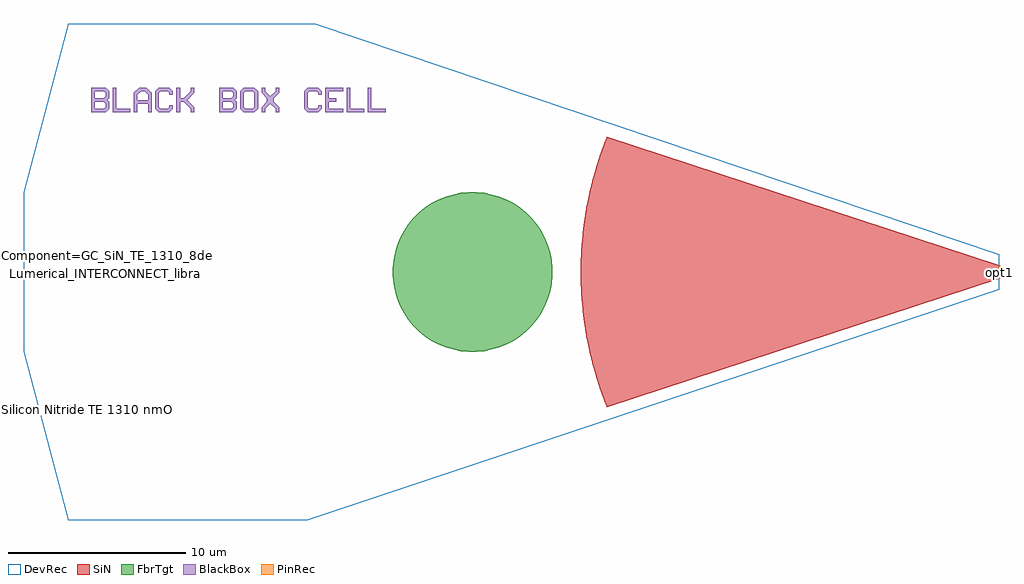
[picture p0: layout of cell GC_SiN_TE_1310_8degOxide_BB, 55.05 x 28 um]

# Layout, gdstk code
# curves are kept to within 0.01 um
import gdstk
lib = gdstk.Library(unit=1e-6, precision=1e-09)
def P(c, l, *ps):  # polygons
    for p in ps: c.add(gdstk.Polygon(p, *l))
PinRec = (1, 10)
SiN = (4, 0)
DevRec = (68, 0)
FbrTgt = (81, 0)
BlackBox = (998, 0)

gc_sin_te_1310_8degoxide = lib.new_cell('GC_SiN_TE_1310_8degOxide_BB')
P(gc_sin_te_1310_8degoxide, SiN, [(-22.124,-7.618),(-22.514,-6.567),(-22.793,-5.681),(-23.008,-4.879),(-23.21,-3.971),(-23.37,-3.054),(-23.513,-1.886),(-23.578,-0.956),(-23.6,-0.123),(-23.578,0.956),(-23.513,1.886),(-23.412,2.763),(-23.238,3.827),(-23.031,4.784),(-22.793,5.681),(-22.514,6.567),(-22.124,7.618),(0,0.375),(0,-0.375)])
P(gc_sin_te_1310_8degoxide, DevRec, [(-52.5,-14),(-55,-4.5),(-55,4.5),(-52.5,14),(-38.552,14),(0,1),(0,-1),(-39,-14)])
P(gc_sin_te_1310_8degoxide, FbrTgt, [(-29.921,-4.5),(-30.361,-4.457),(-30.795,-4.37),(-31.218,-4.242),(-31.626,-4.073),(-32.016,-3.864),(-32.384,-3.619),(-32.726,-3.338),(-33.038,-3.026),(-33.319,-2.684),(-33.564,-2.316),(-33.773,-1.926),(-33.942,-1.518),(-34.07,-1.095),(-34.157,-0.661),(-34.2,-0.221),(-34.2,0.221),(-34.157,0.661),(-34.07,1.095),(-33.942,1.518),(-33.773,1.926),(-33.564,2.316),(-33.319,2.684),(-33.038,3.026),(-32.726,3.338),(-32.384,3.619),(-32.016,3.864),(-31.626,4.073),(-31.218,4.242),(-30.795,4.37),(-30.361,4.457),(-29.921,4.5),(-29.479,4.5),(-29.039,4.457),(-28.605,4.37),(-28.182,4.242),(-27.774,4.073),(-27.384,3.864),(-27.016,3.619),(-26.674,3.338),(-26.362,3.026),(-26.081,2.684),(-25.836,2.316),(-25.627,1.926),(-25.458,1.518),(-25.33,1.095),(-25.243,0.661),(-25.2,0.221),(-25.2,-0.221),(-25.243,-0.661),(-25.33,-1.095),(-25.458,-1.518),(-25.627,-1.926),(-25.836,-2.316),(-26.081,-2.684),(-26.362,-3.026),(-26.674,-3.338),(-27.016,-3.619),(-27.384,-3.864),(-27.774,-4.073),(-28.182,-4.242),(-28.605,-4.37),(-29.039,-4.457),(-29.479,-4.5)])
P(gc_sin_te_1310_8degoxide, BlackBox, [(-51.2,9),(-51.2,10.4),(-50.4,10.4),(-50.2,10.2),(-51,10.2),(-51,9.8),(-50.5,9.8),(-50.4,9.9),(-50.4,10.1),(-50.5,10.2),(-50.2,10.2),(-50.2,9.8),(-50.3,9.7),(-50.2,9.6),(-51,9.6),(-51,9.2),(-50.5,9.2),(-50.4,9.3),(-50.4,9.5),(-50.5,9.6),(-50.2,9.6),(-50.2,9.2),(-50.4,9)],
  [(-50,9),(-50,10.4),(-49.8,10.4),(-49.8,9.2),(-49,9.2),(-49,9)],
  [(-48.8,9),(-48.8,10.1),(-48.5,10.4),(-48.1,10.4),(-47.9,10.2),(-48.4,10.2),(-48.6,10),(-48.6,9.7),(-48,9.7),(-48,10),(-48.2,10.2),(-47.9,10.2),(-47.8,10.1),(-47.8,9),(-48,9),(-48,9.5),(-48.6,9.5),(-48.6,9)],
  [(-47.4,9),(-47.6,9.2),(-47.6,10.2),(-47.4,10.4),(-46.8,10.4),(-46.6,10.2),(-46.6,10),(-46.8,10),(-46.8,10.1),(-46.9,10.2),(-47.3,10.2),(-47.4,10.1),(-47.4,9.3),(-47.3,9.2),(-46.9,9.2),(-46.8,9.3),(-46.8,9.4),(-46.6,9.4),(-46.6,9.2),(-46.8,9)],
  [(-46.4,9),(-46.4,10.4),(-46.2,10.4),(-46.2,9.8),(-46,9.8),(-45.6,10.2),(-45.6,10.4),(-45.4,10.4),(-45.4,10.1),(-45.8,9.7),(-45.4,9.3),(-45.4,9),(-45.6,9),(-45.6,9.2),(-46,9.6),(-46.2,9.6),(-46.2,9)],
  [(-44,9),(-44,10.4),(-43.2,10.4),(-43,10.2),(-43.8,10.2),(-43.8,9.8),(-43.3,9.8),(-43.2,9.9),(-43.2,10.1),(-43.3,10.2),(-43,10.2),(-43,9.8),(-43.1,9.7),(-43,9.6),(-43.8,9.6),(-43.8,9.2),(-43.3,9.2),(-43.2,9.3),(-43.2,9.5),(-43.3,9.6),(-43,9.6),(-43,9.2),(-43.2,9)],
  [(-42.6,9),(-42.8,9.2),(-42.8,10.2),(-42.6,10.4),(-42,10.4),(-41.8,10.2),(-41.8,9.7),(-42,9.7),(-42,10.1),(-42.1,10.2),(-42.5,10.2),(-42.6,10.1),(-42.6,9.3),(-42.5,9.2),(-42.1,9.2),(-42,9.3),(-42,9.7),(-41.8,9.7),(-41.8,9.2),(-42,9)],
  [(-41.6,9),(-41.6,9.3),(-41.3,9.6),(-41.3,9.8),(-41.6,10.1),(-41.6,10.4),(-41.4,10.4),(-41.4,10.2),(-41.1,9.9),(-40.8,10.2),(-40.8,10.4),(-40.6,10.4),(-40.6,10.1),(-40.9,9.8),(-40.9,9.6),(-40.6,9.3),(-40.6,9),(-40.8,9),(-40.8,9.2),(-41.1,9.5),(-41.4,9.2),(-41.4,9)],
  [(-39,9),(-39.2,9.2),(-39.2,10.2),(-39,10.4),(-38.4,10.4),(-38.2,10.2),(-38.2,10),(-38.4,10),(-38.4,10.1),(-38.5,10.2),(-38.9,10.2),(-39,10.1),(-39,9.3),(-38.9,9.2),(-38.5,9.2),(-38.4,9.3),(-38.4,9.4),(-38.2,9.4),(-38.2,9.2),(-38.4,9)],
  [(-38,9),(-38,10.4),(-37,10.4),(-37,10.2),(-37.8,10.2),(-37.8,9.8),(-37.4,9.8),(-37.4,9.6),(-37.8,9.6),(-37.8,9.2),(-37,9.2),(-37,9)],
  [(-36.8,9),(-36.8,10.4),(-36.6,10.4),(-36.6,9.2),(-35.8,9.2),(-35.8,9)],
  [(-35.6,9),(-35.6,10.4),(-35.4,10.4),(-35.4,9.2),(-34.6,9.2),(-34.6,9)])
gc_sin_te_1310_8degoxide.add(gdstk.FlexPath([(-0.05,0),(0.05,0)], 0.75, ends="flush", simple_path=True, layer=1, datatype=10))  # PinRec
gc_sin_te_1310_8degoxide.add(gdstk.Label('Silicon Nitride TE 1310 nm\nOxide 8 degrees', (-53.255,-7.745), layer=10, texttype=0))
gc_sin_te_1310_8degoxide.add(gdstk.Label('opt1', (0,0), layer=1, texttype=10))
gc_sin_te_1310_8degoxide.add(gdstk.Label('Lumerical_INTERCONNECT_library=Design kits/EBeam-SiN', (-50.395,-0.065), layer=68, texttype=0))
gc_sin_te_1310_8degoxide.add(gdstk.Label('Component=GC_SiN_TE_1310_8degOxide', (-50.37,0.945), layer=68, texttype=0))

lib.write_gds('GC_SiN_TE_1310_8degOxide_BB.gds')
